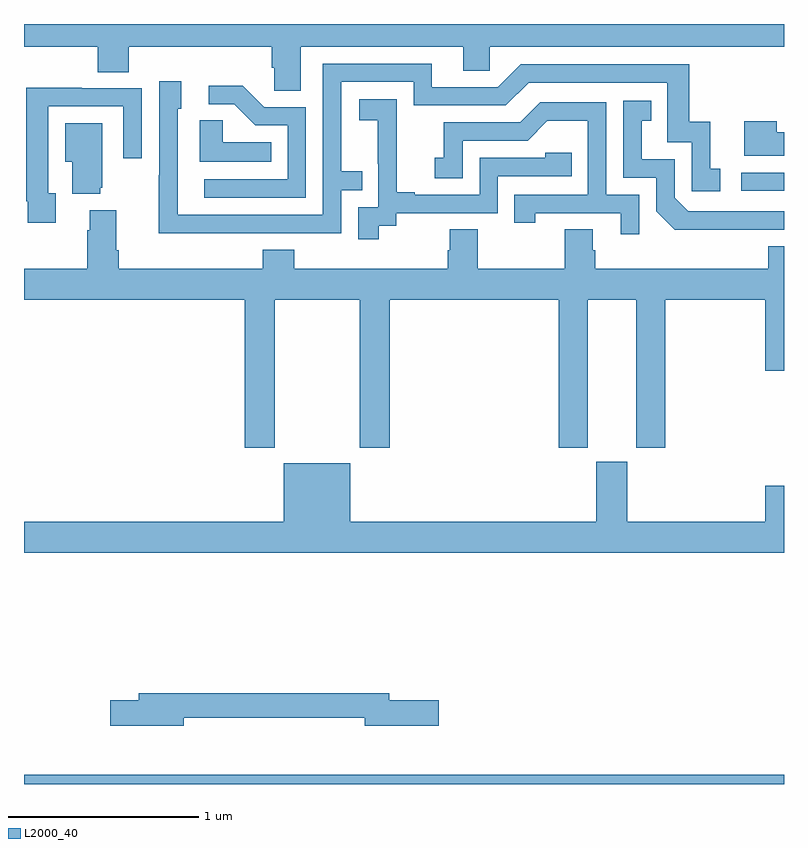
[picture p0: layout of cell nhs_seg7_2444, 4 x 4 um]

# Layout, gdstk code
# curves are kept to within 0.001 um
import gdstk
lib = gdstk.Library(unit=1e-6, precision=1e-09)
def R(c, l, rs):  # rectangles x0, y0, x1, y1
    for r in rs: c.add(gdstk.rectangle(r[:2], r[2:], *l))
def P(c, l, *ps):  # polygons
    for p in ps: c.add(gdstk.Polygon(p, *l))
L2000_40 = (2000, 40)

nhs_seg7_2444 = lib.new_cell('nhs_seg7_2444')
R(nhs_seg7_2444, L2000_40, [(269,1066,273,1066.048), (272.775,1069.122,273,1069.218)])
P(nhs_seg7_2444, L2000_40, [(270.457,1069.88),(271.313,1069.88),(271.313,1069.753),(271.452,1069.753),(271.452,1069.88),(273,1069.88),(273,1070),(269,1070),(269,1069.88),(269.387,1069.88),(269.387,1069.747),(269.552,1069.747),(269.552,1069.88),(270.305,1069.88),(270.305,1069.771),(270.318,1069.771),(270.318,1069.648),(270.457,1069.648)],
  [(270.173,1068.9),(270.669,1068.9),(270.669,1069.125),(270.779,1069.125),(270.779,1069.226),(270.669,1069.226),(270.669,1069.695),(271.05,1069.695),(271.05,1069.572),(271.536,1069.572),(271.656,1069.692),(272.385,1069.692),(272.385,1069.377),(272.514,1069.377),(272.514,1069.119),(272.665,1069.119),(272.665,1069.239),(272.612,1069.239),(272.612,1069.486),(272.501,1069.486),(272.501,1069.788),(271.614,1069.788),(271.494,1069.668),(271.147,1069.668),(271.147,1069.791),(270.573,1069.791),(270.573,1068.996),(269.808,1068.996),(269.808,1069.554),(269.827,1069.554),(269.827,1069.699),(269.712,1069.699),(269.712,1069.205),(269.71,1069.205),(269.71,1068.899)],
  [(270.483,1069.563),(270.264,1069.563),(270.151,1069.676),(269.973,1069.676),(269.973,1069.578),(270.107,1069.578),(270.218,1069.467),(270.387,1069.467),(270.387,1069.182),(269.949,1069.182),(269.949,1069.086),(270.483,1069.086)],
  [(269.167,1069.11),(269.127,1069.11),(269.127,1069.566),(269.523,1069.566),(269.523,1069.293),(269.619,1069.293),(269.619,1069.662),(269.303,1069.662),(269.303,1069.664),(269.011,1069.664),(269.011,1069.066),(269.019,1069.066),(269.019,1068.954),(269.167,1068.954)],
  [(270.868,1068.937),(270.96,1068.937),(270.96,1069.005),(271.494,1069.005),(271.494,1069.2),(271.883,1069.2),(271.883,1069.323),(271.743,1069.323),(271.743,1069.296),(271.398,1069.296),(271.398,1069.101),(271.057,1069.101),(271.057,1069.114),(270.962,1069.114),(270.962,1069.397),(270.963,1069.397),(270.963,1069.603),(270.765,1069.603),(270.765,1069.493),(270.863,1069.493),(270.863,1069.265),(270.864,1069.265),(270.864,1069.035),(270.759,1069.035),(270.759,1068.867),(270.868,1068.867)],
  [(272.834,1068.918),(273,1068.918),(273,1069.014),(272.496,1069.014),(272.424,1069.086),(272.424,1069.287),(272.251,1069.287),(272.251,1069.491),(272.3,1069.491),(272.3,1069.597),(272.154,1069.597),(272.154,1069.191),(272.328,1069.191),(272.328,1069.014),(272.337,1069.005),(272.426,1068.917)],
  [(272.238,1069.101),(272.064,1069.101),(272.064,1069.587),(271.718,1069.587),(271.613,1069.482),(271.21,1069.482),(271.21,1069.297),(271.161,1069.297),(271.161,1069.188),(271.308,1069.188),(271.308,1069.386),(271.65,1069.386),(271.754,1069.49),(271.968,1069.49),(271.968,1069.101),(271.579,1069.101),(271.579,1068.954),(271.69,1068.954),(271.69,1069.005),(272.141,1069.005),(272.141,1068.894),(272.238,1068.894)],
  [(270.302,1069.378),(270.045,1069.378),(270.045,1069.493),(269.924,1069.493),(269.924,1069.274),(270.302,1069.274)],
  [(273,1069.429),(272.963,1069.429),(272.963,1069.489),(272.792,1069.489),(272.792,1069.307),(273,1069.307)],
  [(269.402,1069.137),(269.413,1069.137),(269.413,1069.477),(269.216,1069.477),(269.216,1069.274),(269.255,1069.274),(269.255,1069.106),(269.402,1069.106)],
  [(270.321,1068.548),(270.766,1068.548),(270.766,1067.769),(270.926,1067.769),(270.926,1068.548),(271.814,1068.548),(271.814,1067.769),(271.966,1067.769),(271.966,1068.548),(272.222,1068.548),(272.222,1067.769),(272.375,1067.769),(272.375,1068.548),(272.9,1068.548),(272.9,1068.174),(273,1068.174),(273,1068.829),(272.918,1068.829),(272.918,1068.712),(272.006,1068.712),(272.006,1068.81),(271.993,1068.81),(271.993,1068.92),(271.846,1068.92),(271.846,1068.712),(271.389,1068.712),(271.389,1068.92),(271.241,1068.92),(271.241,1068.81),(271.229,1068.81),(271.229,1068.712),(270.422,1068.712),(270.422,1068.811),(270.257,1068.811),(270.257,1068.712),(269.498,1068.712),(269.498,1068.808),(269.485,1068.808),(269.485,1069.021),(269.345,1069.021),(269.345,1068.914),(269.333,1068.914),(269.333,1068.712),(269,1068.712),(269,1068.548),(270.161,1068.548),(270.161,1067.769),(270.321,1067.769)],
  [(273,1067.569),(272.9,1067.569),(272.9,1067.38),(272.176,1067.38),(272.176,1067.697),(272.012,1067.697),(272.012,1067.38),(270.718,1067.38),(270.718,1067.689),(270.368,1067.689),(270.368,1067.38),(269,1067.38),(269,1067.216),(273,1067.216)],
  [(269.842,1066.35),(270.794,1066.35),(270.794,1066.307),(271.183,1066.307),(271.183,1066.442),(270.922,1066.442),(270.922,1066.478),(269.603,1066.478),(269.603,1066.442),(269.454,1066.442),(269.454,1066.307),(269.842,1066.307)])

lib.write_gds('nhs_seg7_2444.gds')
